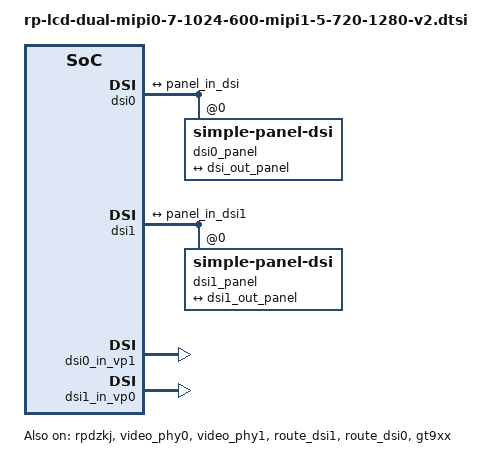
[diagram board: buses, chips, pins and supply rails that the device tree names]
#include <dt-bindings/display/media-bus-format.h>

#define RP_DUAL_LCD

&rpdzkj {
        compatible = "rp_config";
        user_version = "rpdzkj";
        system_rotate = "0";
				csi_camera_rotate = "0"; //all csi camera rotation //0 90 180 270 //no effect
				csi_camera_facing = "0"; //0:auto  1:all front   2:all back //no effect
				usb_camera_rotate = "0"; //all usb camera rotation //0 90 180 270 
				usb_camera_facing = "0"; //0:auto  1:all front   2:all back
        lcd_density = "160";
        language = "zh-CN";   //zh-CN //en-US
        time_zone = "Asia/Shanghai"; //Asia/Shanghai = +8   //Europe/London  = +1       //Africa/Casablanca     = +0;
        not_navigation_bar = "false";
        not_status_bar = "false";
        default_launcher = "true";
        has_root = "true";
        usb_not_permission = "true";
        gps_use = "false";
        gps_serial_port = "/dev/ttyS4";
        primary_device = "DSI";
        extend_device = "DSI";
        extend_rotate = "1";
        extend_rotate_2 = "0";
        rotation_efull = "true";
        rotation_efull_2 = "false";
        home_apk = "null";
        status = "okay";
};



&dsi0 {
	status = "okay";
	rockchip,lane-rate = <480>;
	dsi0_panel: panel@0 {
		status = "okay";
		compatible = "simple-panel-dsi";
		reg = <0>;
		reset-delay-ms = <60>;
		enable-delay-ms = <60>;
		prepare-delay-ms = <60>;
		unprepare-delay-ms = <60>;
		disable-delay-ms = <60>;
		dsi,flags = <(MIPI_DSI_MODE_VIDEO | MIPI_DSI_MODE_VIDEO_BURST |
			MIPI_DSI_MODE_LPM | MIPI_DSI_MODE_EOT_PACKET)>;
		dsi,format = <MIPI_DSI_FMT_RGB888>;
		dsi,lanes  = <4>;
	
		/**
		 * power-supply = <>;
		 * reset-gpios = <>;
		 *
		 * lcd reset pin and power supply
		 * please refer to ***-lcd-gpio.dtsi
		 * that included in main dts.
		 */
		 
		panel-init-sequence = [
			05 78 01 11
			05 78 01 29
		];
		
		panel-exit-sequence = [
			05 00 01 28
			05 78 01 10
		];

		disp_timings0: display-timings {
			native-mode = <&dsi0_timing0>;
			dsi0_timing0: timing1 {
				clock-frequency = <51000000>;
				hactive = <1024>;
				vactive = <600>;
				hback-porch = <160>;
				hfront-porch = <136>;
				vback-porch = <16>;
				vfront-porch = <16>;
				hsync-len = <4>;
				vsync-len = <2>;
				hsync-active = <0>;
				vsync-active = <0>;
				de-active = <0>;
				pixelclk-active = <1>;
			};
		};

		ports {
			#address-cells = <1>;
			#size-cells = <0>;

			port@0 {
				reg = <0>;
				panel_in_dsi: endpoint {
					remote-endpoint = <&dsi_out_panel>;
				};
			};
		};
	};

	ports {
		#address-cells = <1>;
		#size-cells = <0>;

		port@1 {
			reg = <1>;
			dsi_out_panel: endpoint {
				remote-endpoint = <&panel_in_dsi>;
			};
		};
	};

};



&dsi1 {
	status = "okay";
	//rockchip,lane-rate = <480>;
	dsi1_panel: panel@0 {

		status = "okay";
		compatible = "simple-panel-dsi";
		reg = <0>;
		reset-delay-ms = <60>;
		init-delay-ms = <60>;
		enable-delay-ms = <60>;
		prepare-delay-ms = <60>;
		unprepare-delay-ms = <60>;
		disable-delay-ms = <60>;
		dsi,flags = <(MIPI_DSI_MODE_VIDEO | MIPI_DSI_MODE_VIDEO_BURST |
			MIPI_DSI_MODE_LPM | MIPI_DSI_MODE_EOT_PACKET)>;
		dsi,format = <MIPI_DSI_FMT_RGB888>;
		dsi,lanes  = <4>;
	
		/**
		 * power-supply = <>;
		 * reset-gpios = <>;
		 *
		 * lcd reset pin and power supply
		 * please refer to ***-lcd-gpio.dtsi
		 * that included in main dts.
		 */
		 
		panel-init-sequence = [
			39 00 04 B9 F1 12 83

			39 00 1C BA 33 81 05 F9 0E 0E 20 00 00 00 00 00 00 00 44 25 00 91 0A 00 00 02 4F D1 00 00 37

			39 00 02 B8 26


			39 00 04 BF 02 10 00

			39 00 0B B3 07 0B 1E 1E 03 FF 00 00 00 00


			39 00 0A C0 73 73 50 50 00 00 08 70 00

			39 00 02 BC 46

			39 00 02 CC 0B

			39 00 02 B4 80

			39 00 04 B2 C8 12 A0

			39 00 0F E3 07 07 0B 0B 03 0B 00 00 00 00 FF 80 C0 10


			39 00 0D C1 53 00 32 32 77 F1 FF FF CC CC 77 77

			39 00 03 B5 09 09

			39 00 03 B6 B7 B7

			39 00 40 E9 C2 10 0A 00 00 81 80 12 30 00 37 86 81 80 37 18 00 05 00 00 00 00 00 05 00 00 00 00 F8 BA 46 02 08 28 88 88 88 88 88 F8 BA 57 13 18 38 88 88 88 88 88 00 00 00 03 00 00 00 00 00 00 00 00 00

			39 00 3E EA 07 12 01 01 02 3C 00 00 00 00 00 00 8F BA 31 75 38 18 88 88 88 88 88 8F BA 20 64 28 08 88 88 88 88 88 23 10 00 00 04 00 00 00 00 00 00 00 00 00 00 00 00 00 00 00 00 00 00 00 00 00 00

			39 00 23 E0 00 02 04 1A 23 3F 2C 28 05 09 0B 10 11 10 12 12 19 00 02 04 1A 23 3F 2C 28 05 09 0B 10 11 10 12 12 19


			05 ff 01 11 ////Sleep Out

			05 32 01 29 ///Display On
		];
		
		panel-exit-sequence = [
			05 00 01 28
			05 78 01 10
		];

		disp_timings1: display-timings {
			native-mode = <&dsi1_timing0>;
			dsi1_timing0: timing0 {
                                clock-frequency = <60000000>;
                                hactive = <720>;
                                vactive = <1280>;
                                hback-porch = <40>;
                                hfront-porch = <40>;
                                vback-porch = <11>;
                                vfront-porch = <16>;
                                hsync-len = <10>;
                                vsync-len = <3>;
                                hsync-active = <0>;
                                vsync-active = <0>;
                                de-active = <0>;
                                pixelclk-active = <0>;
			};
		};

		ports {
			#address-cells = <1>;
			#size-cells = <0>;

			port@0 {
				reg = <0>;
				panel_in_dsi1: endpoint {
					remote-endpoint = <&dsi1_out_panel>;
				};
			};
		};
	};

	ports {
		#address-cells = <1>;
		#size-cells = <0>;

		port@1 {
			reg = <1>;
			dsi1_out_panel: endpoint {
				remote-endpoint = <&panel_in_dsi1>;
			};
		};
	};
};



&dsi0_in_vp0 {
	status = "disabled";
};

&dsi0_in_vp1 {
	status = "okay";
};

&dsi1_in_vp0 {
	status = "okay";
};

&dsi1_in_vp1 {
	status = "disabled";
};


&video_phy0 {
	status = "okay";
};

&video_phy1 {
	status = "okay";
};



&route_dsi1 {
	status = "okay";
	connect = <&vp0_out_dsi1>;
};

&route_dsi0 {
	status = "okay";
	connect = <&vp1_out_dsi0>;
};


&gt9xx {
        status = "okay";

        compatible = "goodix,gt9xx";
        reg = <0x5d>;
        gtp_resolution_x = <1024>;
        gtp_resolution_y = <600>;
        gtp_int_tarigger = <1>;
        gtp_change_x2y = <0>;
        gtp_overturn_x = <0>;
        gtp_overturn_y = <0>;
        gtp_send_cfg = <1>;
        gtp_touch_wakeup = <1>;

		/**
		 * goodix_rst_gpio = <>;
		 * goodix_irq_gpio = <>;
		 *
		 * touch panel interrupt and reset pin
		 * please refer to ***-lcd-gpio.dtsi
		 * that included in main dts.
		 */

        goodix,cfg-group0 = [
			41 00 04 58 02 05 7D 00 01 2F 28 
			0F 50 32 03 05 00 00 00 00 00 00 
			00 18 1A 1E 14 89 0D 0C 2C 2A 0C 
			08 00 00 00 82 03 1D 0A 32 05 0A 
			32 00 00 00 00 00 0B 1E 50 94 E5 
			02 08 00 00 04 A7 21 00 8B 28 00 
			73 31 00 62 3B 00 52 48 00 52 00 
			00 00 00 00 00 00 00 00 00 00 00 
			00 00 00 00 00 00 00 00 00 00 00 
			00 00 00 00 00 00 00 00 32 50 00 
			00 00 1C 1A 18 16 14 12 10 0E 0C 
			0A 08 06 04 02 00 00 00 00 00 00
			00 00 00 00 00 00 00 00 00 00 2A
			29 28 26 24 22 21 20 1F 1E 1D 18
			16 14 13 12 10 0F 0C 0A 08 06 FF
			FF FF FF 00 00 00 00 00 00 00 00
			00 00 00 00 00 00 00 00 3B 01
            ];
        goodix,cfg-group5 = [
			FF 00 04 58 02 05 0D 04 01
			0A 28 0A 50 32 03 05 00 00
			00 00 00 00 08 00 00 00 00
			8B 2B 0E 30 32 0F 0A 00 00
			00 83 02 1D 00 00 00 00 00
			03 03 32 00 00 00 24 60 94
			C0 02 00 00 00 04 93 27 00
			80 30 00 70 3B 00 65 47 00
			5C 57 00 5C 00 00 00 00 00
			00 00 00 00 00 00 00 00 00
			00 00 00 00 00 00 00 00 00
			00 00 00 00 00 00 00 00 00
			00 00 00 00 1C 1A 18 16 14
			12 10 0E 0C 0A 08 06 04 02
			00 00 00 00 00 00 00 00 00
			00 00 00 00 00 00 00 26 24
			22 21 20 1F 1E 1D 1C 18 16
			13 12 10 0F 0C 0A 08 06 04
			02 00 FF FF FF FF 00 00 00
			00 00 00 00 00 00 00 00 00
			00 00 00 00 6A 01
        ];
};




